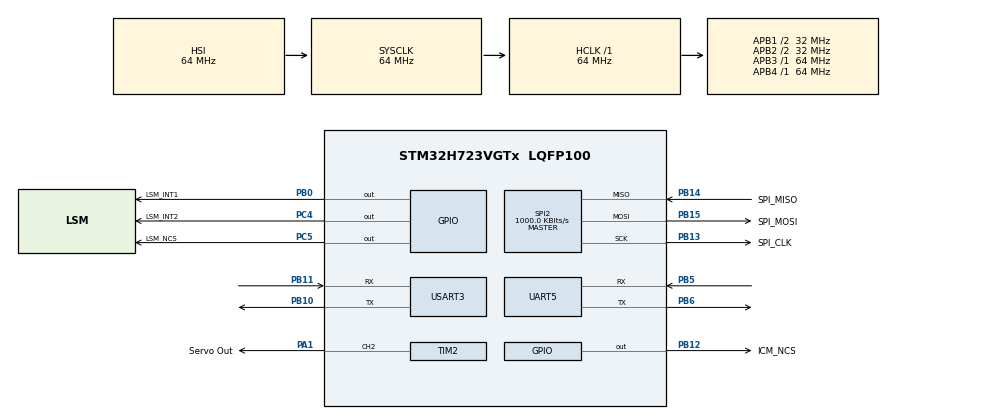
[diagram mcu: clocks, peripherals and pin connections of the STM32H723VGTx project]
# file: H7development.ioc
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CORTEX_M7.default_mode_Activation=1
Mcu.Family=STM32H7
Mcu.Name=STM32H723VGTx
Mcu.Package=LQFP100
NVIC.PriorityGroup=NVIC_PRIORITYGROUP_4
NVIC.TIM2_IRQn=true\:0\:0\:false\:false\:true\:true\:true\:true
NVIC.TIM3_IRQn=true\:0\:0\:false\:false\:true\:true\:true\:true
PA1.GPIO_Label=Servo Out
PA1.Signal=S_TIM2_CH2
PA13(JTMS/SWDIO).Mode=Serial_Wire
PA13(JTMS/SWDIO).Signal=DEBUG_JTMS-SWDIO
PA14(JTCK/SWCLK).Mode=Serial_Wire
PA14(JTCK/SWCLK).Signal=DEBUG_JTCK-SWCLK
PB0.GPIO_Label=LSM_INT1
PB0.Signal=GPIO_Output
PB10.Mode=Asynchronous
PB10.Signal=USART3_TX
PB11.Mode=Asynchronous
PB11.Signal=USART3_RX
PB12.GPIO_Label=ICM_NCS
PB12.Signal=GPIO_Output
PB13.GPIO_Label=SPI_CLK
PB13.Mode=Full_Duplex_Master
PB13.Signal=SPI2_SCK
PB14.GPIO_Label=SPI_MISO
PB14.Mode=Full_Duplex_Master
PB14.Signal=SPI2_MISO
PB15.GPIO_Label=SPI_MOSI
PB15.Mode=Full_Duplex_Master
PB15.Signal=SPI2_MOSI
PB5.Mode=Asynchronous
PB5.Signal=UART5_RX
PB6.Mode=Asynchronous
PB6.Signal=UART5_TX
PC4.GPIO_Label=LSM_INT2
PC4.Signal=GPIO_Output
PC5.GPIO_Label=LSM_NCS
PC5.Signal=GPIO_Output
ProjectManager.HeapSize=0x200
ProjectManager.StackSize=0x400
ProjectManager.TargetToolchain=CMake
RCC.ADCFreq_Value=129000000
RCC.APB1Freq_Value=32000000
RCC.APB2Freq_Value=32000000
RCC.APB3Freq_Value=64000000
RCC.APB4Freq_Value=64000000
RCC.CortexFreq_Value=64000000
RCC.D2PPRE1=RCC_APB1_DIV2
RCC.D2PPRE2=RCC_APB2_DIV2
RCC.DIVM1=4
RCC.DIVN1=12
RCC.DIVQ1=3
RCC.HCLKFreq_Value=64000000
RCC.PLLFRACN=0
RCC.SYSCLKFreq_VALUE=64000000
RCC.USBFreq_Value=64000000
SH.S_TIM2_CH2.0=TIM2_CH2,PWM Generation2 CH2
SPI2.BaudRatePrescaler=SPI_BAUDRATEPRESCALER_64
SPI2.CLKPhase=SPI_PHASE_2EDGE
SPI2.CLKPolarity=SPI_POLARITY_HIGH
SPI2.CalculateBaudRate=1000.0 KBits/s
SPI2.Direction=SPI_DIRECTION_2LINES
SPI2.Mode=SPI_MODE_MASTER
SPI2.VirtualType=VM_MASTER
TIM2.Channel-PWM\ Generation2\ CH2=TIM_CHANNEL_2
TIM2.Period=100000-1
TIM2.Prescaler=20-1
TIM3.Period=80-1
TIM3.Prescaler=2500-1
USART3.VirtualMode-Asynchronous=VM_ASYNC
VP_MEMORYMAP_VS_MEMORYMAP.Mode=CurAppReg
VP_TIM2_VS_ClockSourceINT.Mode=Internal
VP_TIM3_VS_ClockSourceINT.Mode=Internal
board=custom

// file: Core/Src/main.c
/* USER CODE BEGIN Header */
/**
  ******************************************************************************
  * @file           : main.c
  * @brief          : Main program body
  ******************************************************************************
  * @attention
  *
  * Copyright (c) 2025 STMicroelectronics.
  * All rights reserved.
  *
  * This software is licensed under terms that can be found in the LICENSE file
  * in the root directory of this software component.
  * If no LICENSE file comes with this software, it is provided AS-IS.
  *
  ******************************************************************************
  */
/* USER CODE END Header */
#include "main.h"
#include "spi.h"
#include "tim.h"
#include "usart.h"
#include "gpio.h"

/* USER CODE BEGIN Includes */
#include <stdio.h>
#include <stdint.h>
#include <string.h>

#include "lsm6dsv16x_reg.h" // LSM6DSV16X driver header file
#include "MadgwickAHRS.h" // Madgwick AHRS algorithm header file
/* USER CODE END Includes */

/* USER CODE BEGIN PD */
#define DEG2RAD 0.017453292519943295f // Pi / 180
#define RAD2DEG 57.29577951308232f    // 180 / Pi

/* ====== EDIT IF NEEDED ====== */
#define SPI_HANDLE   hspi2                 // SPI instance wired to IMU
#define CS_PORT      LSM_NCS_GPIO_Port     // IMU chip-select port
#define CS_PIN       LSM_NCS_Pin           // IMU chip-select pin
/* ============================ */
#define REG_WHO_AM_I 0x0F
#define SPI_READ_BIT 0x80
/* USER CODE END PD */

/* USER CODE BEGIN PV */
volatile uint8_t fusion_tick = 0;

// --- Madgwick globals exposed by the library ---
extern volatile float q0, q1, q2, q3;      // quaternion (from Madgwick)
extern volatile float sampleFreq;          // Madgwick internal sample rate
static float gyro_bias_dps[3] = {0};       // boot-time gyro bias estimate

// There are 3 axes of data for both the accelerometer and gyroscope, each a 16 bit value
int16_t accel_raw[3] = {0}, gyro_raw[3] = {0};
float accel_g[3] = {0}, gyro_dps[3] = {0};

// Making an instance of the ctx_t struct to use in accessing the lsm6dsv16x
stmdev_ctx_t lsm6dsv16x_ctx;

// data-ready flags to see if new data is available
lsm6dsv16x_data_ready_t drdy;
/* USER CODE END PV */

void SystemClock_Config(void);
static void MPU_Config(void);

/* USER CODE BEGIN 0 */
/*
================================
PLATFORM COMMUNICATION FUNCTIONS
================================
*/

int32_t platform_write(void *handle, uint8_t reg, const uint8_t *bufp, uint16_t len)
{
    HAL_GPIO_WritePin(LSM_NCS_GPIO_Port, LSM_NCS_Pin, GPIO_PIN_RESET);

    uint8_t tx_buf[1] = { reg & 0x7F }; // Write operation
    HAL_SPI_Transmit(handle, tx_buf, 1, HAL_MAX_DELAY);
    HAL_SPI_Transmit(handle, (uint8_t*)bufp, len, HAL_MAX_DELAY);

    HAL_GPIO_WritePin(LSM_NCS_GPIO_Port, LSM_NCS_Pin, GPIO_PIN_SET);
    return 0;
}

int32_t platform_read(void *handle, uint8_t reg, uint8_t *bufp, uint16_t len)
{
    HAL_GPIO_WritePin(LSM_NCS_GPIO_Port, LSM_NCS_Pin, GPIO_PIN_RESET);

    uint8_t tx_buf[1] = { reg | 0x80 }; // Read operation
    HAL_SPI_Transmit(handle, tx_buf, 1, HAL_MAX_DELAY);
    HAL_SPI_Receive(handle, bufp, len, HAL_MAX_DELAY);

    HAL_GPIO_WritePin(LSM_NCS_GPIO_Port, LSM_NCS_Pin, GPIO_PIN_SET);
    return 0;
}

// To redirect the printf to output to the UART instead so I can see it in putty
int __io_putchar(int ch)
{
    HAL_UART_Transmit(&huart5, (uint8_t *)&ch, 1, HAL_MAX_DELAY);
    return ch;
}

/* USER CODE END 0 */

int main(void)
{

  /* MPU Configuration--------------------------------------------------------*/
  MPU_Config();

  /* MCU Configuration--------------------------------------------------------*/

  /* Reset of all peripherals, Initializes the Flash interface and the Systick. */
  HAL_Init();

  /* Configure the system clock */
  SystemClock_Config();

  /* Initialize all configured peripherals */
  MX_GPIO_Init();
  MX_SPI2_Init();
  MX_TIM2_Init();
  MX_TIM3_Init();
  MX_UART5_Init();
  MX_USART3_UART_Init();
  /* USER CODE BEGIN 2 */

  HAL_TIM_PWM_Start(&htim2, TIM_CHANNEL_2);
  HAL_TIM_Base_Start_IT(&htim3);      // start periodic update IRQ

  // Contains the value read from the specified register
  uint8_t whoami = 0;

  int correct = 0;
  int incorrect = 0;

  // Setup lsm6dsv16x_ctx correctly for thios device setup
  lsm6dsv16x_ctx.handle = &hspi2;
  lsm6dsv16x_ctx.mdelay = HAL_Delay;
  lsm6dsv16x_ctx.write_reg = platform_write;
  lsm6dsv16x_ctx.read_reg = platform_read;

  /* USER CODE END 2 */

  /* Infinite loop */
  /* USER CODE BEGIN WHILE */
  while (1)
  {

    lsm6dsv16x_device_id_get(&lsm6dsv16x_ctx, &whoami);

    if (whoami == LSM6DSV16X_WHO_AM_I){
      correct ++;
      printf("Success! Who am I register value: 0x%x\r\n", whoami);
    } else {
      incorrect ++;
      printf("Error! Who am I register value: 0x%x\r\n", whoami);
    }

  }

    /* USER CODE END WHILE */

}

void SystemClock_Config(void)
{
  RCC_OscInitTypeDef RCC_OscInitStruct = {0};
  RCC_ClkInitTypeDef RCC_ClkInitStruct = {0};

  /** Supply configuration update enable
  */
  HAL_PWREx_ConfigSupply(PWR_LDO_SUPPLY);

  /** Configure the main internal regulator output voltage
  */
  __HAL_PWR_VOLTAGESCALING_CONFIG(PWR_REGULATOR_VOLTAGE_SCALE3);

  while(!__HAL_PWR_GET_FLAG(PWR_FLAG_VOSRDY)) {}

  /** Initializes the RCC Oscillators according to the specified parameters
  * in the RCC_OscInitTypeDef structure.
  */
  RCC_OscInitStruct.OscillatorType = RCC_OSCILLATORTYPE_HSI;
  RCC_OscInitStruct.HSIState = RCC_HSI_DIV1;
  RCC_OscInitStruct.HSICalibrationValue = 64;
  RCC_OscInitStruct.PLL.PLLState = RCC_PLL_ON;
  RCC_OscInitStruct.PLL.PLLSource = RCC_PLLSOURCE_HSI;
  RCC_OscInitStruct.PLL.PLLM = 4;
  RCC_OscInitStruct.PLL.PLLN = 12;
  RCC_OscInitStruct.PLL.PLLP = 2;
  RCC_OscInitStruct.PLL.PLLQ = 3;
  RCC_OscInitStruct.PLL.PLLR = 2;
  RCC_OscInitStruct.PLL.PLLRGE = RCC_PLL1VCIRANGE_3;
  RCC_OscInitStruct.PLL.PLLVCOSEL = RCC_PLL1VCOWIDE;
  RCC_OscInitStruct.PLL.PLLFRACN = 0;
  if (HAL_RCC_OscConfig(&RCC_OscInitStruct) != HAL_OK)
  {
    Error_Handler();
  }

  /** Initializes the CPU, AHB and APB buses clocks
  */
  RCC_ClkInitStruct.ClockType = RCC_CLOCKTYPE_HCLK|RCC_CLOCKTYPE_SYSCLK
                              |RCC_CLOCKTYPE_PCLK1|RCC_CLOCKTYPE_PCLK2
                              |RCC_CLOCKTYPE_D3PCLK1|RCC_CLOCKTYPE_D1PCLK1;
  RCC_ClkInitStruct.SYSCLKSource = RCC_SYSCLKSOURCE_HSI;
  RCC_ClkInitStruct.SYSCLKDivider = RCC_SYSCLK_DIV1;
  RCC_ClkInitStruct.AHBCLKDivider = RCC_HCLK_DIV1;
  RCC_ClkInitStruct.APB3CLKDivider = RCC_APB3_DIV1;
  RCC_ClkInitStruct.APB1CLKDivider = RCC_APB1_DIV2;
  RCC_ClkInitStruct.APB2CLKDivider = RCC_APB2_DIV2;
  RCC_ClkInitStruct.APB4CLKDivider = RCC_APB4_DIV1;

  if (HAL_RCC_ClockConfig(&RCC_ClkInitStruct, FLASH_LATENCY_1) != HAL_OK)
  {
    Error_Handler();
  }
}

 /* MPU Configuration */

void MPU_Config(void)
{
  MPU_Region_InitTypeDef MPU_InitStruct = {0};

  /* Disables the MPU */
  HAL_MPU_Disable();

  /** Initializes and configures the Region and the memory to be protected
  */
  MPU_InitStruct.Enable = MPU_REGION_ENABLE;
  MPU_InitStruct.Number = MPU_REGION_NUMBER0;
  MPU_InitStruct.BaseAddress = 0x0;
  MPU_InitStruct.Size = MPU_REGION_SIZE_4GB;
  MPU_InitStruct.SubRegionDisable = 0x87;
  MPU_InitStruct.TypeExtField = MPU_TEX_LEVEL0;
  MPU_InitStruct.AccessPermission = MPU_REGION_NO_ACCESS;
  MPU_InitStruct.DisableExec = MPU_INSTRUCTION_ACCESS_DISABLE;
  MPU_InitStruct.IsShareable = MPU_ACCESS_SHAREABLE;
  MPU_InitStruct.IsCacheable = MPU_ACCESS_NOT_CACHEABLE;
  MPU_InitStruct.IsBufferable = MPU_ACCESS_NOT_BUFFERABLE;

  HAL_MPU_ConfigRegion(&MPU_InitStruct);
  /* Enables the MPU */
  HAL_MPU_Enable(MPU_PRIVILEGED_DEFAULT);

}

void Error_Handler(void)
{
  __disable_irq();
  while (1)
  {
  }
}
